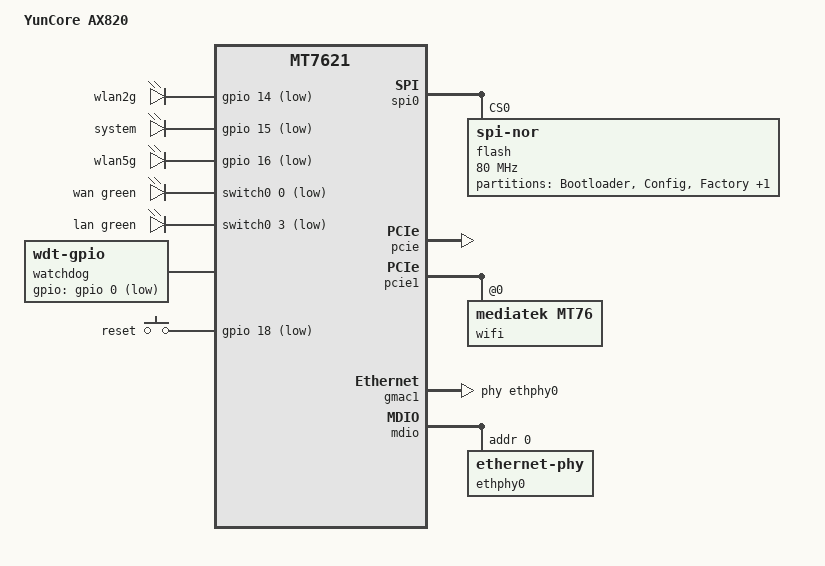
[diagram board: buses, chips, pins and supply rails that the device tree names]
// SPDX-License-Identifier: GPL-2.0-or-later OR MIT

#include "mt7621.dtsi"

#include <dt-bindings/gpio/gpio.h>
#include <dt-bindings/input/input.h>
#include <dt-bindings/leds/common.h>

/ {
	compatible = "yuncore,ax820", "mediatek,mt7621-soc";
	model = "YunCore AX820";

	aliases {
		led-boot = &led_system;
		led-failsafe = &led_system;
		led-running = &led_system;
		led-upgrade = &led_system;
	};

	chosen {
		bootargs = "console=ttyS0,115200";
	};

	leds {
		compatible = "gpio-leds";

		/* At least 2 AX820 variants are known and cannot be distinguished (same hw rev):
		   - System LED green GPIO 15; red and blue apparently not connected
		   - System LED red GPIO 15, WLAN2G LED green GPIO 14, WLAN5G LED blue GPIO 16
		   The canonical values taken from a Yuncore datasheet are:
		   - System LED green GPIO 15, WLAN2G LED blue GPIO 14, WLAN5G LED red GPIO 16
		   All 3 colors relate to the same single RGB LED showing up on the front lightpipe.
		   As a result, all 3 LEDs are defined even if only one may be available, and
		   the color information is absent as it is not reliable */
		wlan2g {
			label = "wlan2g";
			gpios = <&gpio 14 GPIO_ACTIVE_LOW>;
			linux,default-trigger = "phy0radio";
		};

		led_system: system {
			label = "system";
			gpios = <&gpio 15 GPIO_ACTIVE_LOW>;
		};

		wlan5g {
			label = "wlan5g";
			gpios = <&gpio 16 GPIO_ACTIVE_LOW>;
			linux,default-trigger = "phy1radio";
		};

		wan {
			color = <LED_COLOR_ID_GREEN>;
			function = LED_FUNCTION_WAN;
			gpios = <&switch0 0 GPIO_ACTIVE_LOW>;
		};

		lan {
			color = <LED_COLOR_ID_GREEN>;
			function = LED_FUNCTION_LAN;
			gpios = <&switch0 3 GPIO_ACTIVE_LOW>;
		};
	};

	watchdog {
		compatible = "linux,wdt-gpio";
		gpios = <&gpio 0 GPIO_ACTIVE_LOW>;
		hw_algo = "toggle";
		hw_margin_ms = <200>;
		always-running;
	};

	keys {
		compatible = "gpio-keys";

		reset {
			label = "reset";
			gpios = <&gpio 18 GPIO_ACTIVE_LOW>;
			linux,code = <KEY_RESTART>;
		};
	};
};

&spi0 {
	status = "okay";

	flash@0 {
		compatible = "jedec,spi-nor";
		reg = <0>;
		spi-max-frequency = <80000000>;
		m25p,fast-read;

		partitions {
			compatible = "fixed-partitions";
			#address-cells = <1>;
			#size-cells = <1>;

			partition@0 {
				label = "Bootloader";
				reg = <0x0 0x30000>;
				read-only;
			};

			partition@30000 {
				label = "Config";
				reg = <0x30000 0x10000>;
				read-only;
			};

			/* range 0x40000 to 0x50000 is empty in vendor
			 * firmware, so we do not use it either
			 */

			factory: partition@50000 {
				label = "Factory";
				reg = <0x50000 0x40000>;
				read-only;
			};

			partition@90000 {
				compatible = "denx,uimage";
				label = "firmware";
				reg = <0x90000 0xf70000>;
			};
		};
	};
};

&pcie {
	status = "okay";
};

&pcie1 {
	wifi@0,0 {
		compatible = "mediatek,mt76";
		reg = <0x0000 0 0 0 0>;
		mediatek,mtd-eeprom = <&factory 0x0>;
		mediatek,disable-radar-background;
	};
};

&gmac0 {
	nvmem-cells = <&macaddr_factory_e000>;
	nvmem-cell-names = "mac-address";
};

&gmac1 {
	status = "okay";
	label = "wan";
	phy-handle = <&ethphy0>;

	nvmem-cells = <&macaddr_factory_e000>;
	nvmem-cell-names = "mac-address";
	mac-address-increment = <1>;
};

&mdio {
	ethphy0: ethernet-phy@0 {
		reg = <0>;
	};
};

&switch0 {
	gpio-controller;
	#gpio-cells = <2>;

	ports {
		port@1 {
			status = "okay";
			label = "lan";
		};
	};
};

&state_default {
	gpio {
		groups = "jtag", "wdt";
		function = "gpio";
	};
};

&factory {
	compatible = "nvmem-cells";
	#address-cells = <1>;
	#size-cells = <1>;

	macaddr_factory_e000: macaddr@e000 {
		reg = <0xe000 0x6>;
	};
};
